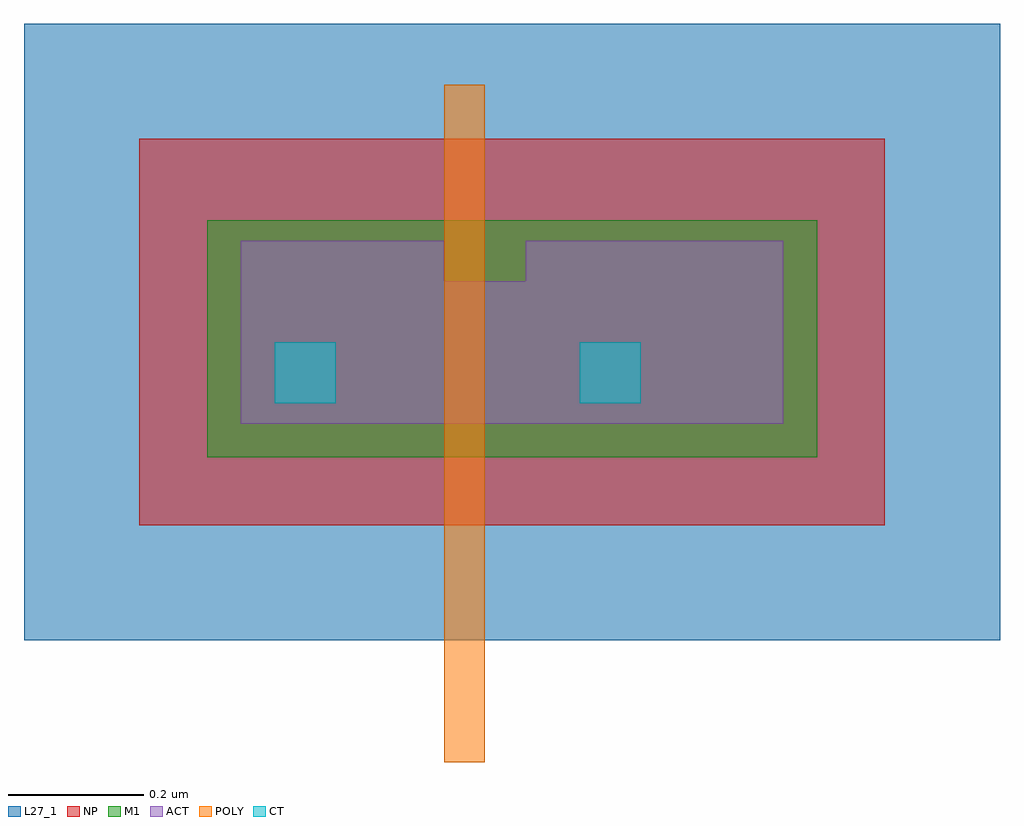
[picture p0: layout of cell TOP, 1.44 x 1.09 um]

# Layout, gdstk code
import gdstk
lib = gdstk.Library(unit=1e-6, precision=1e-09)
def R(c, l, rs):  # rectangles x0, y0, x1, y1
    for r in rs: c.add(gdstk.rectangle(r[:2], r[2:], *l))
def P(c, l, *ps):  # polygons
    for p in ps: c.add(gdstk.Polygon(p, *l))
ACT = (2, 1)
L27_1 = (27, 1)
POLY = (41, 1)
NP = (52, 1)
CT = (72, 1)
M1 = (81, 1)

top = lib.new_cell('TOP')
P(top, ACT, [(0,0),(0,0.27),(0.3,0.27),(0.3,0.21),(0.42,0.21),(0.42,0.27),(0.8,0.27),(0.8,0)])
R(top, L27_1, [(-0.32,-0.32,1.12,0.59)])
R(top, POLY, [(0.3,-0.5,0.36,0.5)])
R(top, NP, [(-0.15,-0.15,0.95,0.42)])
R(top, CT, [(0.05,0.03,0.14,0.12), (0.5,0.03,0.59,0.12)])
R(top, M1, [(-0.05,-0.05,0.85,0.3)])

lib.write_gds('TOP.gds')
